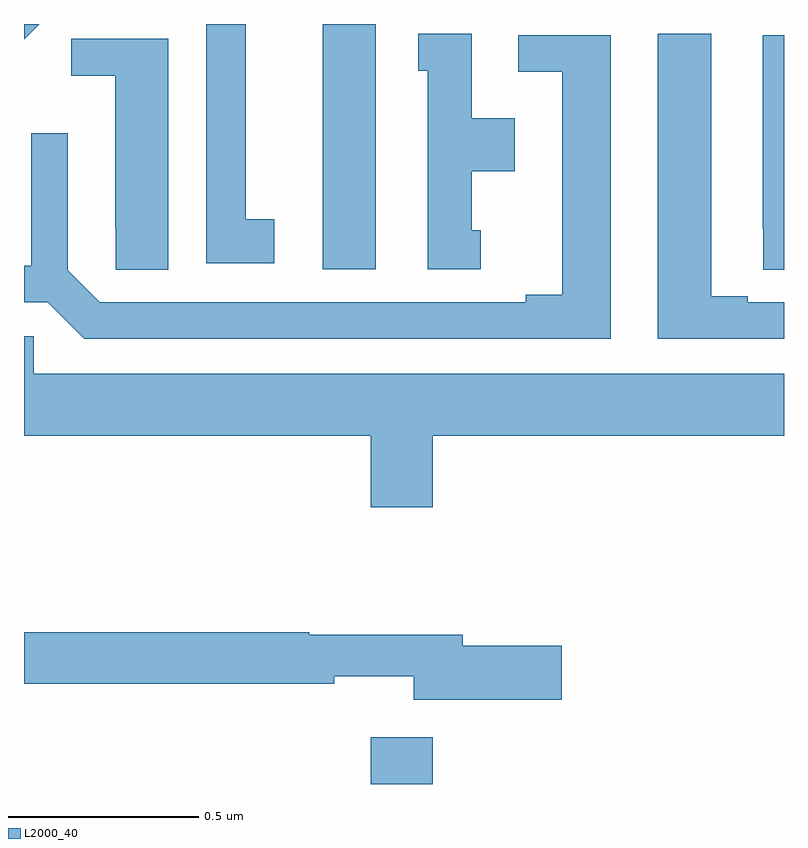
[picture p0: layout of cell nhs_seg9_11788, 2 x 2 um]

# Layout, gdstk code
import gdstk
lib = gdstk.Library(unit=1e-6, precision=1e-09)
def R(c, l, rs):  # rectangles x0, y0, x1, y1
    for r in rs: c.add(gdstk.rectangle(r[:2], r[2:], *l))
def P(c, l, *ps):  # polygons
    for p in ps: c.add(gdstk.Polygon(p, *l))
L2000_40 = (2000, 40)

nhs_seg9_11788 = lib.new_cell('nhs_seg9_11788')
R(nhs_seg9_11788, L2000_40, [(260.912,1199.5,261.076,1199.623), (260.786,1200.855,260.926,1201.5)])
P(nhs_seg9_11788, L2000_40, [(260.04,1201.5),(260,1201.5),(260,1201.46)],
  [(260.659,1200.986),(260.584,1200.986),(260.584,1201.5),(260.48,1201.5),(260.48,1200.87),(260.659,1200.87)],
  [(262,1200.768),(261.904,1200.768),(261.904,1200.783),(261.808,1200.783),(261.808,1201.475),(261.668,1201.475),(261.668,1200.672),(262,1200.672)],
  [(261.202,1200.957),(261.178,1200.957),(261.178,1201.112),(261.292,1201.112),(261.292,1201.252),(261.178,1201.252),(261.178,1201.475),(261.038,1201.475),(261.038,1201.377),(261.062,1201.377),(261.062,1200.855),(261.202,1200.855)],
  [(262,1201.471),(261.944,1201.471),(261.944,1200.961),(261.945,1200.961),(261.945,1200.853),(262,1200.853)],
  [(261.544,1201.47),(261.3,1201.47),(261.3,1201.374),(261.416,1201.374),(261.416,1200.788),(261.32,1200.788),(261.32,1200.768),(260.199,1200.768),(260.115,1200.852),(260.115,1201.213),(260.019,1201.213),(260.019,1200.864),(260,1200.864),(260,1200.768),(260.063,1200.768),(260.159,1200.672),(261.544,1200.672)],
  [(260.38,1201.461),(260.124,1201.461),(260.124,1201.364),(260.24,1201.364),(260.24,1200.961),(260.241,1200.961),(260.241,1200.853),(260.38,1200.853)],
  [(261.076,1200.416),(262,1200.416),(262,1200.58),(260.025,1200.58),(260.025,1200.678),(260,1200.678),(260,1200.416),(260.912,1200.416),(260.912,1200.228),(261.076,1200.228)],
  [(261.415,1199.864),(261.154,1199.864),(261.154,1199.893),(260.75,1199.893),(260.75,1199.9),(260,1199.9),(260,1199.764),(260.816,1199.764),(260.816,1199.783),(261.026,1199.783),(261.026,1199.722),(261.415,1199.722)])

lib.write_gds('nhs_seg9_11788.gds')
